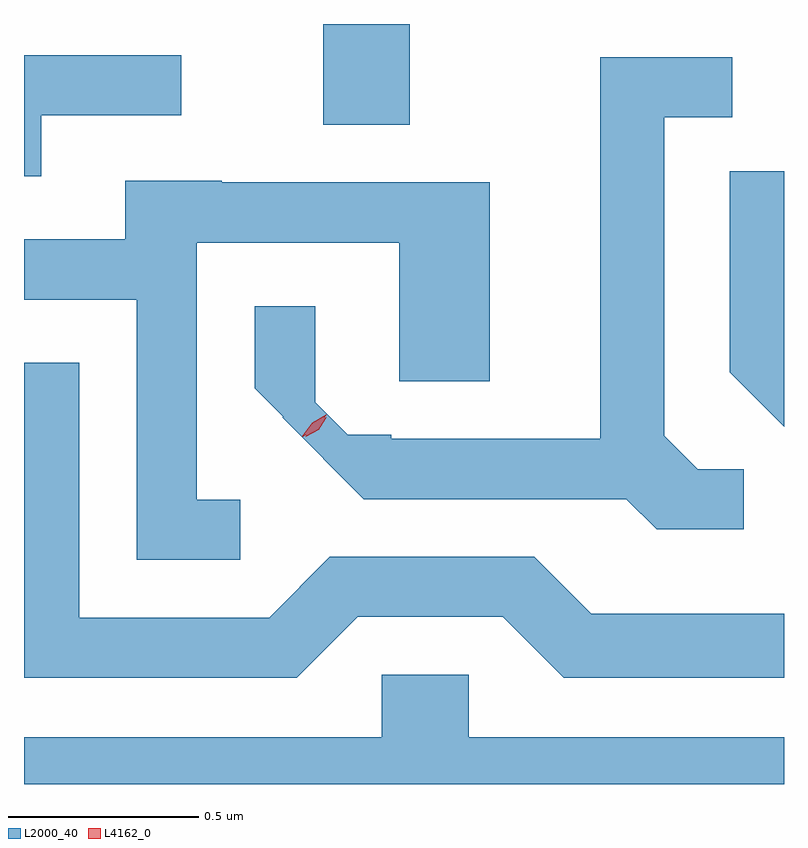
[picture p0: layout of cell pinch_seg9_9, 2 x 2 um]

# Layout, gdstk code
import gdstk
lib = gdstk.Library(unit=1e-6, precision=1e-09)
def R(c, l, rs):  # rectangles x0, y0, x1, y1
    for r in rs: c.add(gdstk.rectangle(r[:2], r[2:], *l))
def P(c, l, *ps):  # polygons
    for p in ps: c.add(gdstk.Polygon(p, *l))
L2000_40 = (2000, 40)
L4162_0 = (4162, 0)

pinch_seg9_9 = lib.new_cell('pinch_seg9_9')
R(pinch_seg9_9, L2000_40, [(1910.271,1987.036,1910.499,1987.301)])
P(pinch_seg9_9, L2000_40, [(1909.529,1987.061),(1909.898,1987.061),(1909.898,1987.219),(1909.484,1987.219),(1909.484,1986.901),(1909.529,1986.901)],
  [(1911.378,1986.129),(1911.257,1986.129),(1911.169,1986.217),(1911.169,1987.056),(1911.348,1987.056),(1911.348,1987.214),(1911.001,1987.214),(1911.001,1986.209),(1910.45,1986.209),(1910.45,1986.22),(1910.336,1986.22),(1910.251,1986.305),(1910.251,1986.558),(1910.091,1986.558),(1910.091,1986.343),(1910.166,1986.268),(1910.163,1986.266),(1910.378,1986.051),(1911.069,1986.051),(1911.149,1985.971),(1911.378,1985.971)],
  [(1911.484,1986.913),(1911.341,1986.913),(1911.341,1986.384),(1911.484,1986.241)],
  [(1910.053,1986.049),(1909.939,1986.049),(1909.939,1986.726),(1910.471,1986.726),(1910.471,1986.361),(1910.709,1986.361),(1910.709,1986.884),(1910.005,1986.884),(1910.005,1986.889),(1909.751,1986.889),(1909.751,1986.734),(1909.484,1986.734),(1909.484,1986.576),(1909.781,1986.576),(1909.781,1985.891),(1910.053,1985.891)],
  [(1910.362,1985.741),(1910.744,1985.741),(1910.904,1985.581),(1911.484,1985.581),(1911.484,1985.749),(1910.977,1985.749),(1910.827,1985.899),(1910.289,1985.899),(1910.129,1985.739),(1909.629,1985.739),(1909.629,1986.409),(1909.484,1986.409),(1909.484,1985.581),(1910.202,1985.581)],
  [(1911.484,1985.424),(1910.654,1985.424),(1910.654,1985.589),(1910.426,1985.589),(1910.426,1985.424),(1909.484,1985.424),(1909.484,1985.301),(1911.484,1985.301)])
P(pinch_seg9_9, L4162_0, [(1910.216,1986.215),(1910.216,1986.216),(1910.242,1986.252),(1910.281,1986.274),(1910.281,1986.274),(1910.281,1986.274),(1910.255,1986.237),(1910.217,1986.215)],
  [(1910.225,1986.215),(1910.225,1986.216),(1910.246,1986.248),(1910.28,1986.266),(1910.28,1986.266),(1910.28,1986.265),(1910.26,1986.233),(1910.225,1986.215)])

lib.write_gds('pinch_seg9_9.gds')
